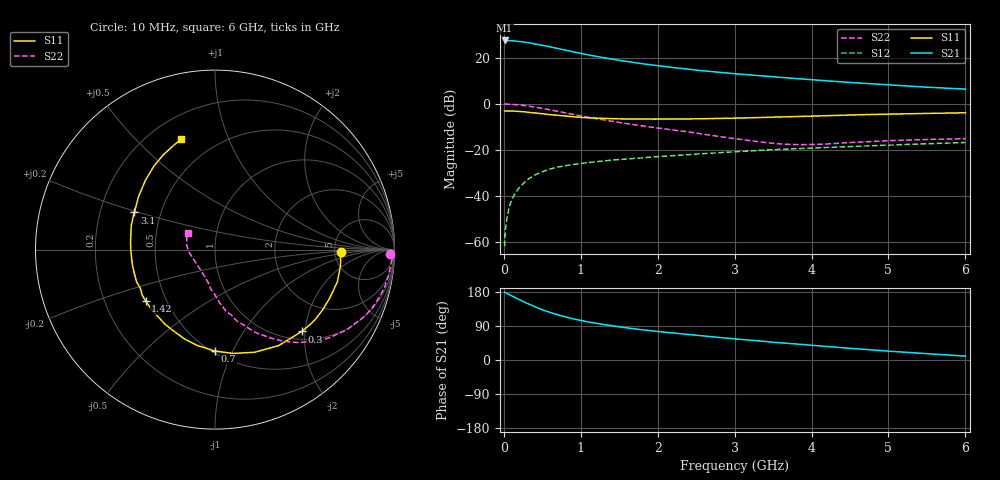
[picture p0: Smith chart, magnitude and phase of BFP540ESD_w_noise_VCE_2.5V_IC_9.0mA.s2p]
! (c) 2015  Infineon Technologies AG, Munich
! Infineon Technologies  Discrete & RF Semiconductors
! BFP540ESD
! VCE =  2.5 V,  IC =  9.0 mA
! Common Emitter S-Parameters:  Nov 2015
# GHz  S  MA  R  50
!  f  S11  S21  S12  S22
! GHz  MAG  ANG  MAG  ANG  MAG  ANG  MAG  ANG
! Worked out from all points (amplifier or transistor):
!   210 points, 10 MHz to 6 GHz, reference 50 ohm
!   highest |S21| = 27.6 dB at 10 MHz (marker M1)
!   |S21| within 3 dB of that: start of sweep to 630.9 MHz
!   unconditionally stable (mu >= 1): 2.838 GHz to end of sweep
!   at 185 MHz: K = 0.09, MSG = 32.2 dB, |S12| = -37.1 dB
!   at 1.52 GHz: K = 0.69, MSG = 21.5 dB, |S12| = -24.2 dB
!   at 6 GHz: K = 1.16, MAG = 9.2 dB, |S12| = -16.8 dB
!   lowest NFmin = 0.83 dB at 900 MHz
!   S11 on the Smith chart (normalised r, x): 10 MHz: 5.69, -0.33; 300 MHz: 1.18, -1.92; 700 MHz: 0.52, -0.86; 1.42 GHz: 0.38, -0.28; 3.1 GHz: 0.35, +0.19; 6 GHz: 0.33, +0.69
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0.01  0.702 -1.2  24.12 178.5  0.0008 101.6  0.9746 -1.4
0.02  0.7011 -3.2  23.84 178.0  0.0018 90.8  0.9941 -1.6
0.055  0.7045 -8.2  23.87 174.0  0.0043 81.0  0.9836 -4.5
0.1  0.705 -14.8  23.8 169.4  0.0081 83.8  0.9776 -8.4
0.15  0.6949 -22.3  23.44 164.3  0.0115 81.9  0.968 -12.6
0.2  0.6871 -29.3  22.98 159.3  0.015 77.7  0.9511 -16.6
0.3  0.6647 -43.3  21.86 149.6  0.0221 72.4  0.9101 -24.3
0.4  0.6419 -56.4  20.46 140.8  0.0281 67.4  0.8593 -31.4
0.5  0.6131 -68.9  19.07 132.6  0.0335 62.9  0.8019 -37.9
0.6  0.587 -80.2  17.51 125.5  0.0382 59.3  0.7439 -43.5
0.7  0.5652 -90.0  16.17 119.4  0.0422 56.1  0.6911 -48.5
0.84  0.5352 -103.7  14.36 111.7  0.0464 52.7  0.6197 -54.7
1.02  0.5072 -118.0  12.43 103.6  0.0512 49.2  0.5422 -61.2
1.2  0.4905 -130.9  10.87 96.8  0.0553 46.7  0.4786 -66.7
1.42  0.4804 -143.6  9.399 89.9  0.0601 44.8  0.4147 -73.0
1.7  0.4726 -157.8  7.952 82.1  0.0654 42.4  0.3523 -79.6
2.02  0.4675 -170.9  6.744 74.8  0.0715 41.0  0.2977 -85.1
2.58  0.4766 170.0  5.295 63.5  0.0826 38.5  0.2205 -95.9
3.1  0.4947 155.3  4.42 54.2  0.0928 36.0  0.1669 -108.4
4.1  0.5522 133.1  3.279 37.2  0.1108 29.5  0.1324 -158.0
5.1  0.6052 117.3  2.545 22.1  0.1289 22.9  0.1604 168.9
6  0.6425 107.1  2.104 10.3  0.1447 17.6  0.1756 147.4
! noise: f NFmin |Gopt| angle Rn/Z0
0.9  0.83  0.08  -128  0.11
1.8  1.03  0.14  -161  0.1
2.4  1.04  0.14  -156  0.1
3  1.16  0.21  -156  0.1
4  1.29  0.34  -115  0.15
5  1.48  0.45  -92  0.27
6  1.72  0.53  -95  0.5
